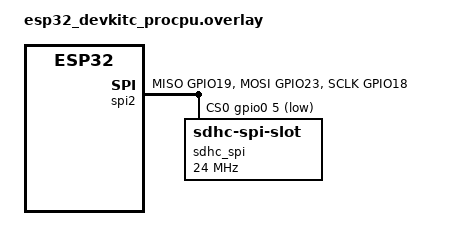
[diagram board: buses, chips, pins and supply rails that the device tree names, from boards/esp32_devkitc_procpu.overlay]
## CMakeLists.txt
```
cmake_minimum_required(VERSION 3.20.0)
find_package(Zephyr REQUIRED HINTS $ENV{ZEPHYR_BASE})
project(file_mvp)

include_directories(include)

FILE(GLOB app_sources src/*.c)
target_sources(app PRIVATE ${app_sources})
```

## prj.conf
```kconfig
# prj.conf – FAT32 microSD on ESP32 Thing Plus C (Zephyr 4.x)

# ── Shell ─────────────────────────────────────────────────────────────────────
CONFIG_SHELL=y
CONFIG_KERNEL_SHELL=y

# ── Hardware drivers ──────────────────────────────────────────────────────────
CONFIG_GPIO=y
CONFIG_SPI=y

# ── SD card stack ─────────────────────────────────────────────────────────────
CONFIG_DISK_ACCESS=y
# pulls in the SPI SDHC driver automatically
CONFIG_SDHC=y

# ── FAT32 file system ─────────────────────────────────────────────────────────
CONFIG_FILE_SYSTEM=y
CONFIG_FAT_FILESYSTEM_ELM=y
# auto-format if no FAT found (disable in production)
CONFIG_FS_FATFS_MOUNT_MKFS=y
CONFIG_FS_FATFS_NUM_FILES=4
CONFIG_FS_FATFS_NUM_DIRS=4

# ── Logging ───────────────────────────────────────────────────────────────────
CONFIG_LOG=y
# INF
CONFIG_LOG_DEFAULT_LEVEL=3

# ── Heap (for malloc in shell commands) ───────────────────────────────────────
CONFIG_HEAP_MEM_POOL_SIZE=4096
```

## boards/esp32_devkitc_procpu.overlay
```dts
/* Disable the onboard native SDHC controller to free the label */
&sdhc0 {
    status = "disabled";
};

&pinctrl {
    spim2_default: spim2_default {
        group1 {
            pinmux = <SPIM2_MISO_GPIO19>,
                     <SPIM2_MOSI_GPIO23>,
                     <SPIM2_SCLK_GPIO18>;
        };
    };
};

&spi2 {
    status = "okay";
    pinctrl-0 = <&spim2_default>;
    pinctrl-names = "default";
    cs-gpios = <&gpio0 5 GPIO_ACTIVE_LOW>;

    sdhc_spi: sdhc@0 {
        compatible = "zephyr,sdhc-spi-slot";
        reg = <0>;
        status = "okay";
        spi-max-frequency = <24000000>;

        mmc {
            compatible = "zephyr,sdmmc-disk";
            disk-name = "SD";
            status = "okay";
        };
    };
};
```

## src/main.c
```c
/**
 * @file main.c
 * @brief Minimal FAT32 SD card test – mount, write, read back.
 *
 * Expected serial output on success:
 *   [inf] fs_module: SD card mounted at /SD
 *   [inf] main: Write OK
 *   [inf] main: Read OK: Hello from FAT32 SD card!
 */

#include <zephyr/kernel.h>
#include <zephyr/logging/log.h>
#include <ff.h>
#include "file.h"

LOG_MODULE_REGISTER(main, LOG_LEVEL_INF);

#define TEST_FILE_Z   SD_MOUNT_POINT "/test.txt"   /* Zephyr style – for write_data_to_file */
#define TEST_FILE_F   "SD:/test.txt"               /* FatFS style  – for raw f_open         */
#define TEST_DATA     "Hello from FAT32 SD card!\n"

int main(void)
{
	/* ── 1. Mount ───────────────────────────────────────────────────── */
	int rc = fatfs_mount();
	if (rc < 0) {
		LOG_ERR("Mount failed (%d)", rc);
		return rc;
	}

	/* ── 2. Write via file library ──────────────────────────────────── */
	rc = write_data_to_file(TEST_FILE_Z, TEST_DATA, TRUNC);
	if (rc < 0) {
		LOG_ERR("Write failed (%d)", rc);
		return rc;
	}
	LOG_INF("Write OK");

	/* ── 3. Read back via raw FatFS ─────────────────────────────────── */
	FIL fil;
	FRESULT fr = f_open(&fil, TEST_FILE_F, FA_READ);
	if (fr != FR_OK) {
		LOG_ERR("Open for read failed (%d)", fr);
		return -EIO;
	}

	char buf[64] = {0};
	UINT br;
	fr = f_read(&fil, buf, sizeof(buf) - 1, &br);
	f_close(&fil);

	if (fr != FR_OK) {
		LOG_ERR("Read failed (%d)", fr);
		return -EIO;
	}

	buf[br] = '\0';
	LOG_INF("Read OK: %s", buf);

	return 0;
}
```

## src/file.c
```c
/**
 * @file file.c
 * @brief File library – FAT32 on microSD card via SPI
 *
 * Mounts a FAT32-formatted microSD card and exposes shell commands for
 * basic file-system navigation and I/O.
 *
 * All file operations use the raw FatFS API (ff.h) directly rather than
 * Zephyr's fs abstraction layer. This is required because Zephyr 4.x does
 * not correctly translate /SD/ mount-point paths to the FatFS drive prefix
 * SD:/ when using the SPI SDHC driver. The raw API works reliably.
 *
 * Path convention:
 *   Shell / user facing  →  /SD/foo/bar.txt   (current_path based)
 *   FatFS internal       →  SD:/foo/bar.txt   (converted by to_fatfs_path)
 *
 * Reference: zephyr/samples/subsys/fs/fat_fs/src/main.c
 */

#include <zephyr/sys/printk.h>
#include <zephyr/kernel.h>
#include <zephyr/device.h>
#include <zephyr/storage/disk_access.h>
#include <zephyr/fs/fs.h>
#include <ff.h>
#include <zephyr/logging/log.h>
#include <zephyr/shell/shell.h>
#include "file.h"
#include <string.h>
#include <stdlib.h>

/* ── Logging ─────────────────────────────────────────────────────────────── */

LOG_MODULE_REGISTER(fs_module, LOG_LEVEL_INF);

/* ── Mount state ─────────────────────────────────────────────────────────── */

static FATFS fat_fs;

static struct fs_mount_t sd_mount = {
	.type        = FS_FATFS,
	.fs_data     = &fat_fs,
	.storage_dev = (void *)"SD",
	.mnt_point   = SD_MOUNT_POINT,
};

/* ── Current working directory (shell context) ───────────────────────────── */

static char current_path[MAX_PATH_LEN] = SD_MOUNT_POINT;

/* ── Logging state (stubbed until sensor module is integrated) ───────────── */

static uint8_t logging_active = OFF;
static char    logging_filepath[MAX_PATH_LEN] = {0};

static void set_logging_state(uint8_t state) { logging_active = state; }
static void set_logging_file(const char *path) { strncpy(logging_filepath, path, MAX_PATH_LEN - 1); }

/* ══════════════════════════════════════════════════════════════════════════
 * PATH HELPERS
 * ══════════════════════════════════════════════════════════════════════════ */

/**
 * @brief Convert a Zephyr-style /SD/... path to a FatFS SD:/... path.
 *
 * FatFS requires the volume label prefix "SD:/" while the shell and user
 * facing API uses "/SD/" to stay consistent with the Zephyr mount point.
 *
 * /SD/foo/bar.txt  →  SD:/foo/bar.txt
 * /SD             →  SD:/
 *
 * @param zpath   Input path beginning with /SD
 * @param fatpath Output buffer for the converted path
 * @param maxlen  Size of the output buffer
 */
static void to_fatfs_path(const char *zpath, char *fatpath, size_t maxlen)
{
	if (strncmp(zpath, "/SD", 3) == 0) {
		/* Replace leading /SD with SD: */
		snprintf(fatpath, maxlen, "SD:%s", zpath + 3);
		/* Ensure at least SD:/ for the root */
		if (strlen(fatpath) == 3) {
			strncat(fatpath, "/", maxlen - strlen(fatpath) - 1);
		}
	} else {
		/* Already a raw FatFS path or unknown – pass through */
		strncpy(fatpath, zpath, maxlen - 1);
		fatpath[maxlen - 1] = '\0';
	}
}

/**
 * @brief Append a relative segment to current_path into combined_path.
 */
static void combine_paths(const char *relative_path, char *combined_path)
{
	strcpy(combined_path, current_path);
	if (relative_path[0] == '/') {
		strcat(combined_path, relative_path);
	} else {
		strcat(combined_path, "/");
		strcat(combined_path, relative_path);
	}
}

/**
 * @brief Resolve a name to an absolute /SD/... path.
 */
static void determine_path(const char *name, char *combined_path)
{
	if (name[0] != '/') {
		combine_paths(name, combined_path);
	} else {
		strcpy(combined_path, name);
	}
}

/**
 * @brief Move current_path up one level, never above /SD root.
 */
static void move_up_level(void)
{
	if (strcmp(current_path, SD_MOUNT_POINT) == 0) {
		LOG_ERR("Already at mount root: %s", current_path);
		return;
	}

	char *last_slash = strrchr(current_path, '/');
	if (last_slash != NULL && last_slash != current_path) {
		*last_slash = '\0';
		if (strlen(current_path) < strlen(SD_MOUNT_POINT)) {
			strcpy(current_path, SD_MOUNT_POINT);
		}
		LOG_INF("Directory changed to: %s", current_path);
	} else {
		LOG_ERR("Already at mount root: %s", current_path);
	}
}

/* ══════════════════════════════════════════════════════════════════════════
 * MOUNT / INIT
 * ══════════════════════════════════════════════════════════════════════════ */

/**
 * @brief Verify disk is accessible then mount FAT32.
 *
 * @return 0 on success, negative errno on failure.
 */
int fatfs_mount(void)
{
	static const char *disk_pdrv = "SD";
	uint64_t memory_size_mb;
	uint32_t block_count;
	uint32_t block_size;

	if (disk_access_init(disk_pdrv) != 0) {
		LOG_ERR("Storage init ERROR – is the SD card inserted?");
		return -EIO;
	}

	if (disk_access_ioctl(disk_pdrv, DISK_IOCTL_GET_SECTOR_COUNT, &block_count) != 0) {
		LOG_ERR("Unable to get sector count");
		return -EIO;
	}
	LOG_INF("Block count: %u", block_count);

	if (disk_access_ioctl(disk_pdrv, DISK_IOCTL_GET_SECTOR_SIZE, &block_size) != 0) {
		LOG_ERR("Unable to get sector size");
		return -EIO;
	}
	LOG_INF("Sector size: %u bytes", block_size);

	memory_size_mb = (uint64_t)block_count * block_size;
	LOG_INF("Memory size: %u MB", (uint32_t)(memory_size_mb >> 20));

	int rc = fs_mount(&sd_mount);
	if (rc < 0) {
		LOG_ERR("FAIL: fs_mount at %s – rc=%d", sd_mount.mnt_point, rc);
		return rc;
	}

	LOG_INF("SD card mounted at %s", sd_mount.mnt_point);
	return 0;
}

/* ══════════════════════════════════════════════════════════════════════════
 * PUBLIC FILE I/O  (raw FatFS)
 * ══════════════════════════════════════════════════════════════════════════ */

/**
 * @brief Write a string to a file using raw FatFS (append or overwrite).
 *
 * @param fname           /SD/... style path.
 * @param data            Null-terminated string to write.
 * @param trunc_or_append APPEND (1) or TRUNC (0).
 * @return 0 on success, -EIO on failure.
 */
int write_data_to_file(const char *fname, char *data, uint8_t trunc_or_append)
{
	char fatpath[MAX_PATH_LEN];
	to_fatfs_path(fname, fatpath, sizeof(fatpath));

	FIL fil;
	FRESULT fr;
	UINT bw;

	BYTE mode = (trunc_or_append == APPEND)
		    ? (FA_OPEN_APPEND | FA_WRITE)
		    : (FA_CREATE_ALWAYS | FA_WRITE);

	fr = f_open(&fil, fatpath, mode);
	if (fr != FR_OK) {
		LOG_ERR("FAIL: f_open %s: %d", fatpath, fr);
		return -EIO;
	}

	fr = f_write(&fil, data, strlen(data), &bw);
	if (fr != FR_OK || bw != strlen(data)) {
		LOG_ERR("FAIL: f_write %s: %d (wrote %u)", fatpath, fr, bw);
		f_close(&fil);
		return -EIO;
	}

	f_close(&fil);
	return 0;
}

/* ══════════════════════════════════════════════════════════════════════════
 * SHELL COMMANDS  (raw FatFS)
 * ══════════════════════════════════════════════════════════════════════════ */

/**
 * @brief ls – list directory contents.
 *
 *   ls [path]
 */
static int ls_cmd(const struct shell *shell, size_t argc, char **argv)
{
	if (argc > 2) {
		shell_print(shell, "Usage: ls [path]");
		return INVALID;
	}

	char zpath[MAX_PATH_LEN];
	char fatpath[MAX_PATH_LEN];

	if (argc == 2) {
		determine_path(argv[1], zpath);
	} else {
		strcpy(zpath, current_path);
	}

	to_fatfs_path(zpath, fatpath, sizeof(fatpath));
	LOG_INF("Listing: %s", fatpath);

	DIR dir;
	FRESULT fr = f_opendir(&dir, fatpath);
	if (fr != FR_OK) {
		LOG_ERR("Error opening directory %s [%d]", fatpath, fr);
		return -EIO;
	}

	FILINFO fno;
	for (;;) {
		fr = f_readdir(&dir, &fno);
		if (fr != FR_OK || fno.fname[0] == 0) {
			break;
		}
		if (fno.fattrib & AM_DIR) {
			shell_print(shell, "[DIR ] %s", fno.fname);
		} else {
			shell_print(shell, "[FILE] %s (size = %lu)",
				    fno.fname, (unsigned long)fno.fsize);
		}
	}

	f_closedir(&dir);
	return 0;
}

/**
 * @brief cd – change current working directory.
 *
 *   cd <path>   (use ".." to go up)
 */
static int cd_cmd(const struct shell *shell, size_t argc, char **argv)
{
	if (argc != 2) {
		shell_print(shell, "Usage: cd <path>");
		return INVALID;
	}

	if (strcmp(argv[1], "..") == 0) {
		move_up_level();
		return 0;
	}

	char zpath[MAX_PATH_LEN];
	char fatpath[MAX_PATH_LEN];
	determine_path(argv[1], zpath);
	to_fatfs_path(zpath, fatpath, sizeof(fatpath));

	/* Verify directory exists by opening it */
	DIR dir;
	FRESULT fr = f_opendir(&dir, fatpath);
	if (fr != FR_OK) {
		LOG_ERR("Directory not found: %s [%d]", fatpath, fr);
		return -ENOENT;
	}
	f_closedir(&dir);

	strcpy(current_path, zpath);
	LOG_INF("Directory changed to: %s", current_path);
	return 0;
}

/**
 * @brief mkdir – create a new directory.
 *
 *   mkdir <name>
 */
static int mkdir_cmd(const struct shell *shell, size_t argc, char **argv)
{
	if (argc < 2) {
		shell_print(shell, "Usage: mkdir <dir_name>");
		return INVALID;
	}

	char zpath[MAX_PATH_LEN];
	char fatpath[MAX_PATH_LEN];
	determine_path(argv[1], zpath);
	to_fatfs_path(zpath, fatpath, sizeof(fatpath));

	FRESULT fr = f_mkdir(fatpath);
	if (fr != FR_OK) {
		LOG_ERR("Error creating directory %s: %d", fatpath, fr);
		return -EIO;
	}

	LOG_INF("Directory created: %s", zpath);
	return 0;
}

/**
 * @brief write – append data to a file from the shell.
 *
 *   write <file> <data…>
 */
static int write_cmd(const struct shell *shell, size_t argc, char **argv)
{
	if (argc < 3) {
		shell_print(shell, "Usage: write <file> <data>");
		return INVALID;
	}

	/* Join all data arguments with spaces */
	size_t total_len = 0;
	for (int i = 2; i < argc; i++) {
		total_len += strlen(argv[i]) + 1;
	}

	char *data = malloc(total_len);
	if (!data) {
		LOG_ERR("Memory allocation failed");
		return INVALID;
	}
	data[0] = '\0';
	for (int i = 2; i < argc; i++) {
		strcat(data, argv[i]);
		if (i < argc - 1) {
			strcat(data, " ");
		}
	}

	char zpath[MAX_PATH_LEN];
	determine_path(argv[1], zpath);

	int rc = write_data_to_file(zpath, data, APPEND);
	free(data);

	if (rc < 0) {
		LOG_ERR("Failed to write to %s", zpath);
		return rc;
	}

	LOG_INF("Data written to %s", zpath);
	return 0;
}

/**
 * @brief read – print the contents of a file to the shell.
 *
 *   read <file>
 */
static int read_cmd(const struct shell *shell, size_t argc, char **argv)
{
	if (argc < 2) {
		shell_print(shell, "Usage: read <file>");
		return INVALID;
	}

	char zpath[MAX_PATH_LEN];
	char fatpath[MAX_PATH_LEN];
	determine_path(argv[1], zpath);
	to_fatfs_path(zpath, fatpath, sizeof(fatpath));

	/* Get file size via FatFS stat */
	FILINFO fno;
	FRESULT fr = f_stat(fatpath, &fno);
	if (fr != FR_OK) {
		LOG_ERR("Failed to stat %s: %d", fatpath, fr);
		return -EIO;
	}

	if (fno.fsize == 0) {
		shell_print(shell, "(file is empty)");
		return 0;
	}

	FIL fil;
	fr = f_open(&fil, fatpath, FA_READ);
	if (fr != FR_OK) {
		LOG_ERR("Failed to open %s: %d", fatpath, fr);
		return -EIO;
	}

	char *buffer = malloc(fno.fsize + 1);
	if (!buffer) {
		LOG_ERR("Memory allocation failed");
		f_close(&fil);
		return INVALID;
	}

	UINT br;
	fr = f_read(&fil, buffer, fno.fsize, &br);
	f_close(&fil);

	if (fr != FR_OK) {
		LOG_ERR("Error reading %s: %d", fatpath, fr);
		free(buffer);
		return -EIO;
	}

	buffer[br] = '\0';
	shell_print(shell, "--- %s ---\n%s", zpath, buffer);
	free(buffer);
	return 0;
}

/**
 * @brief pwd – print the current working directory.
 *
 *   pwd
 */
static int pwd_cmd(const struct shell *shell, size_t argc, char **argv)
{
	if (argc > 1) {
		shell_print(shell, "Usage: pwd");
		return INVALID;
	}
	shell_print(shell, "%s", current_path);
	return 0;
}

/**
 * @brief logging – start or pause sensor-data logging to a file.
 *
 *   logging s [file]   – start
 *   logging p          – pause
 */
static int logging_cmd(const struct shell *shell, size_t argc, char **argv)
{
	if (argc > 3 || argc < 2) {
		shell_print(shell, "Usage: logging <s [fname]|p>");
		return INVALID;
	}

	char cmd_type = argv[1][0];
	static char combined_path[MAX_PATH_LEN];

	if (cmd_type == 's') {
		if (argc == 3) {
			determine_path(argv[2], combined_path);
			set_logging_file(combined_path);
		}
		set_logging_state(ON);
	} else if (cmd_type == 'p' && argc == 2) {
		set_logging_state(OFF);
	} else {
		shell_print(shell, "logging s [fname]  – start");
		shell_print(shell, "logging p          – pause");
		return INVALID;
	}

	return 0;
}

/**
 * @brief rm – remove a file.
 *
 *   rm <file>
 */
static int remove_file_cmd(const struct shell *shell, size_t argc, char **argv)
{
	if (argc != 2) {
		shell_print(shell, "Usage: rm <file>");
		return INVALID;
	}

	char zpath[MAX_PATH_LEN];
	char fatpath[MAX_PATH_LEN];
	determine_path(argv[1], zpath);
	to_fatfs_path(zpath, fatpath, sizeof(fatpath));

	FRESULT fr = f_unlink(fatpath);
	if (fr != FR_OK) {
		LOG_ERR("Failed to remove %s: %d", fatpath, fr);
		return -EIO;
	}

	LOG_INF("Removed: %s", zpath);
	return 0;
}

/* ══════════════════════════════════════════════════════════════════════════
 * THREAD ENTRY POINT
 * ══════════════════════════════════════════════════════════════════════════ */

/**
 * @brief Thread entry – mount the SD card then register shell commands.
 */
void file_control_thread(void)
{
	int rc = fatfs_mount();
	if (rc < 0) {
		LOG_ERR("Failed to mount FAT32 SD card: %d", rc);
	} else {
		/* Quick free-space sanity check via raw FatFS */
		FATFS *fs_ptr;
		DWORD fre_clust;
		FRESULT fr = f_getfree("SD:", &fre_clust, &fs_ptr);
		if (fr == FR_OK) {
			uint32_t fre_kb = (uint32_t)(fre_clust
					  * fs_ptr->csize / 2);
			LOG_INF("Free space: %u KiB", fre_kb);
		} else {
			LOG_WRN("Unable to read free space: %d", fr);
		}
	}

	LOG_INF("FAT32 file system ready – registering shell commands");

	SHELL_CMD_REGISTER(ls,      NULL, "List files/dirs",            ls_cmd);
	SHELL_CMD_REGISTER(cd,      NULL, "Change directory",           cd_cmd);
	SHELL_CMD_REGISTER(mkdir,   NULL, "Create directory",           mkdir_cmd);
	SHELL_CMD_REGISTER(write,   NULL, "Write data to file",         write_cmd);
	SHELL_CMD_REGISTER(read,    NULL, "Read and print file",        read_cmd);
	SHELL_CMD_REGISTER(pwd,     NULL, "Print working directory",    pwd_cmd);
	SHELL_CMD_REGISTER(logging, NULL, "Start/pause sensor logging", logging_cmd);
	SHELL_CMD_REGISTER(rm,      NULL, "Remove a file",              remove_file_cmd);
}
```

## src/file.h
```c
/**
 * @file file.h
 * @brief File library header - FAT32 on microSD via SPI
 *
 * Provides an interface for mounting a FAT32 formatted microSD card
 * over SPI and performing basic file I/O and shell commands.
 *
 * Board target : esp32_devkitc_wroom (ESP32 Thing Plus C)
 * File system  : FatFS (FAT32)
 * Interface    : SPI -> sdhc-spi-slot -> sdmmc-disk
 */

#ifndef FILE_H
#define FILE_H

#include <zephyr/sys/printk.h>
#include <zephyr/kernel.h>
#include <zephyr/device.h>
#include <zephyr/fs/fs.h>
#include <zephyr/logging/log.h>
#include <zephyr/shell/shell.h>
#include <string.h>

/* ── Mount point ─────────────────────────────────────────────────────────── */

/** Root mount point for the FAT32 SD card.
 *  Must match the disk-name in the device tree overlay ("SD"). */
#define SD_MOUNT_POINT  "/SD"

/* ── Thread configuration ────────────────────────────────────────────────── */

#define FILE_STACK_SIZE  4096
#define FILE_PRIORITY    5

/* ── Path helpers ────────────────────────────────────────────────────────── */

#define MAX_PATH_LEN  256

/* ── Write mode flags ────────────────────────────────────────────────────── */

#define INVALID  (-1)
#define APPEND     1
#define TRUNC      0


/* Logging state flags */
#define ON  1
#define OFF 0

/* ── Public API ──────────────────────────────────────────────────────────── */

/**
 * @brief Mount the FAT32 SD card file system.
 *
 * Calls fs_mount() using the pre-configured FAT mount point.
 * Should be called once during initialisation before any file I/O.
 *
 * @return 0 on success, negative errno on failure.
 */
extern int fatfs_mount(void);

/**
 * @brief Write (append or truncate) a string to a file on the SD card.
 *
 * Opens or creates @p fname, writes @p data, then closes the file.
 *
 * @param fname           Absolute or relative file path.
 * @param data            Null-terminated string to write.
 * @param trunc_or_append APPEND (1) to append, TRUNC (0) to overwrite.
 * @return 0 on success, negative errno on failure.
 */
extern int write_data_to_file(const char *fname, char *data,
                               uint8_t trunc_or_append);

/**
 * @brief Thread entry – mounts the SD card and registers shell commands.
 *
 * Intended to be started as a Zephyr thread from main or via
 * K_THREAD_DEFINE().
 */
extern void file_control_thread(void);

#endif /* FILE_H */
```
